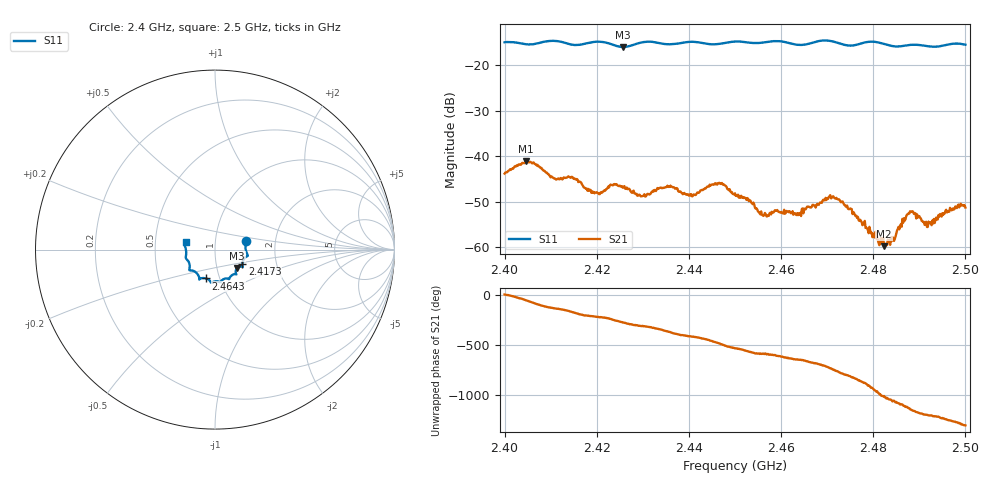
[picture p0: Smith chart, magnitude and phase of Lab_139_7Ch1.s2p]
# Hz S RI R 50
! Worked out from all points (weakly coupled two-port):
!   601 points, 2.4 GHz to 2.5 GHz, reference 50 ohm
!   highest |S21| = -41.13 dB at 2.4047 GHz (marker M1); lowest = -59.8 dB at 2.4823 GHz (marker M2)
!   lowest |S11| = -15.9 dB at 2.4257 GHz (marker M3), VSWR 1.38, Z = 62.4 - j13.1 ohm
!   |S11| at or under -10 dB: start of sweep to end of sweep
!   S12 and S22 are empty: the file has one direction only
!   S11 on the Smith chart (normalised r, x): 2.4 GHz: 1.41, +0.15; 2.4173 GHz: 1.34, -0.23; 2.4643 GHz: 0.86, -0.28; 2.5 GHz: 0.72, +0.06
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2.4e9  0.1731 0.0498  0.00641 0.000706  0 0  0 0
2.404667e9  0.1703 0.0178  0.00546 -0.00688  0 0  0 0
2.410833e9  0.1835 -0.0341  -0.00372 -0.0043  0 0  0 0
2.416667e9  0.1529 -0.0747  -0.00492 0.00127  0 0  0 0
2.417333e9  0.1522 -0.0821  -0.00418 0.00171  0 0  0 0
2.420167e9  0.1549 -0.0971  -0.00321 0.00228  0 0  0 0
2.423333e9  0.1424 -0.0934  -0.00221 0.00428  0 0  0 0
2.425667e9  0.1225 -0.1024  0.000274 0.0045  0 0  0 0
2.43e9  0.118 -0.1362  0.00222 0.0029  0 0  0 0
2.433333e9  0.1127 -0.1367  0.00403 0.00172  0 0  0 0
2.440833e9  0.0784 -0.1647  0.00206 -0.00302  0 0  0 0
2.446833e9  0.0416 -0.1685  -0.00305 -0.00392  0 0  0 0
2.45e9  0.0298 -0.1811  -0.00386 -0.000684  0 0  0 0
2.4565e9  -0.0104 -0.1798  -0.00171 0.00165  0 0  0 0
2.464333e9  -0.0501 -0.1606  0.000596 0.00212  0 0  0 0
2.466667e9  -0.0763 -0.1599  0.00198 0.00197  0 0  0 0
2.472167e9  -0.0882 -0.1548  0.00264 -0.00213  0 0  0 0
2.482333e9  -0.1407 -0.0996  0.000304 0.00098  0 0  0 0
2.483333e9  -0.1408 -0.0897  0.000875 0.000757  0 0  0 0
2.488e9  -0.1605 -0.0508  0.00126 -0.00214  0 0  0 0
2.492167e9  -0.1606 -0.0232  -0.000996 -0.00156  0 0  0 0
2.5e9  -0.1639 0.0423  -0.00204 0.00182  0 0  0 0
